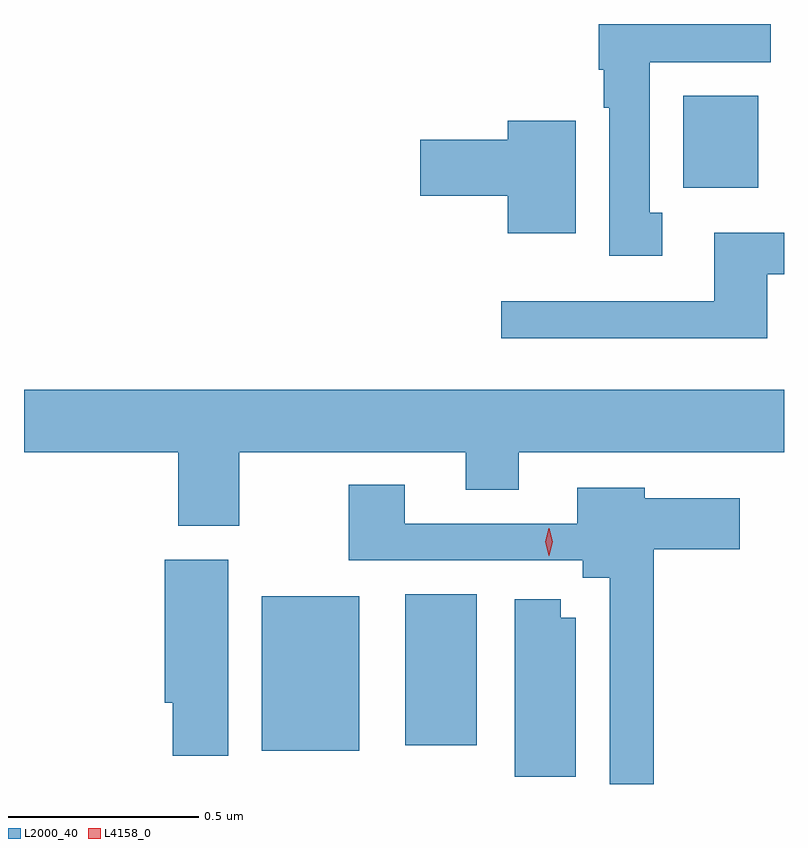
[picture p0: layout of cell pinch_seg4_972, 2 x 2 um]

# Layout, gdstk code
import gdstk
lib = gdstk.Library(unit=1e-6, precision=1e-09)
def R(c, l, rs):  # rectangles x0, y0, x1, y1
    for r in rs: c.add(gdstk.rectangle(r[:2], r[2:], *l))
def P(c, l, *ps):  # polygons
    for p in ps: c.add(gdstk.Polygon(p, *l))
L2000_40 = (2000, 40)
L4158_0 = (4158, 0)

pinch_seg4_972 = lib.new_cell('pinch_seg4_972')
R(pinch_seg4_972, L2000_40, [(738.122,788.042,738.379,788.449), (738.5,788.057,738.688,788.455), (739.232,789.524,739.429,789.766)])
P(pinch_seg4_972, L2000_40, [(739.177,789.458),(739.144,789.458),(739.144,789.854),(739.462,789.854),(739.462,789.955),(739.01,789.955),(739.01,789.834),(739.022,789.834),(739.022,789.734),(739.037,789.734),(739.037,789.345),(739.177,789.345)],
  [(738.949,789.7),(738.77,789.7),(738.77,789.65),(738.54,789.65),(738.54,789.503),(738.77,789.503),(738.77,789.404),(738.949,789.404)],
  [(739.453,789.297),(739.497,789.297),(739.497,789.406),(739.313,789.406),(739.313,789.225),(738.753,789.225),(738.753,789.128),(739.453,789.128)],
  [(738.063,788.828),(738.659,788.828),(738.659,788.729),(738.799,788.729),(738.799,788.828),(739.497,788.828),(739.497,788.992),(737.497,788.992),(737.497,788.828),(737.903,788.828),(737.903,788.634),(738.063,788.634)],
  [(739.154,788.573),(739.381,788.573),(739.381,788.707),(739.131,788.707),(739.131,788.734),(738.953,788.734),(738.953,788.64),(738.499,788.64),(738.499,788.743),(738.352,788.743),(738.352,788.544),(738.968,788.544),(738.968,788.498),(739.038,788.498),(739.038,787.955),(739.154,787.955)],
  [(738.034,788.545),(737.867,788.545),(737.867,788.169),(737.888,788.169),(737.888,788.029),(738.034,788.029)],
  [(738.949,788.392),(738.91,788.392),(738.91,788.441),(738.788,788.441),(738.788,787.974),(738.949,787.974)])
P(pinch_seg4_972, L4158_0, [(738.878,788.556),(738.869,788.592),(738.878,788.628),(738.879,788.628),(738.879,788.628),(738.889,788.592),(738.879,788.556),(738.879,788.556)])

lib.write_gds('pinch_seg4_972.gds')
